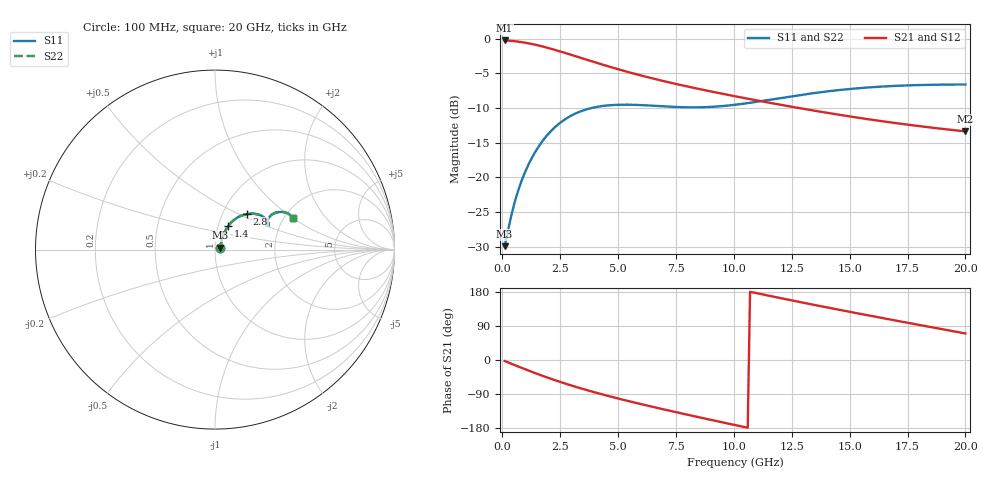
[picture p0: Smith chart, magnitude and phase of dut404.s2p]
! Touchstone file exported from HFSS 2024.1.0
!  File:  C:/UserFiles/LocalFiles/RDL_TSV_Batchsim/temp_RDL_TSV_404_1779712143.aedt
!  Generated:  08:53:30 PM May 25, 2026
!  Design:  RDL_TSV
!  Project:  temp_RDL_TSV_404_1779712143
!  Setup:  Setup1
!  Solution:  Sweep
! Variables:
!  dtsv = 10.58um
!  hbump = 3um
!  htsv = 76.57um
!  ldown = 549.81um
!  lrdl = 664.75um
!  p = 40
!  p1 = 54.92um
!  rhole = 10um
!  subl = 4308.43um
!  t = 450um
!  tdown = 2.51um
!  trdl = 4.97um
!  viad = 10um
!  wdown = 19.64um
!  wrdl = 10.26um
!  xbump = 18um
# GHz S MA R 50.000000
! Terminal data exported
! Port[1] = TM1_1_T1
! Port[2] = TM1_4_T1
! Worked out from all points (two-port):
!   200 points, 100 MHz to 20 GHz, reference 50 ohm
!   highest |S21| = -0.27 dB at 100 MHz (marker M1); lowest = -13.4 dB at 20 GHz (marker M2)
!   |S21| within 3 dB of the highest: start of sweep to 3.859 GHz
!   lowest |S11| = -29.9 dB at 100 MHz (marker M3), VSWR 1.07, Z = 53.1 + j1.14 ohm
!   |S11| at or under -10 dB: start of sweep to 3.87 GHz
!   |S22| runs from -29.9 to -6.6 dB; largest |S21 - S12| = 9.8e-15
!   S11 on the Smith chart (normalised r, x): 100 MHz: 1.06, +0.02; 1.4 GHz: 1.12, +0.30; 2.8 GHz: 1.30, +0.56; 20 GHz: 2.21, +1.00
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0.1  0.03185 19.6  0.9698 -2.6  0.9698 -2.6  0.03186 19.6
! Gamma 0 0 0 0
! Port Impedance 50 0 50 0
0.4  0.05388 49.8  0.9629 -10.1  0.9629 -10.1  0.05389 49.8
0.7  0.08148 58.5  0.9504 -17.5  0.9504 -17.5  0.08148 58.5
1  0.1105 61.2  0.9335 -24.8  0.9335 -24.8  0.1105 61.1
1.4  0.15 60.8  0.9053 -34.1  0.9053 -34.1  0.1498 60.7
1.7  0.179 59.0  0.8808 -40.9  0.8808 -40.9  0.1788 58.9
2.1  0.2153 55.4  0.8454 -49.6  0.8454 -49.6  0.2149 55.3
2.8  0.2678 48.0  0.7803 -63.8  0.7803 -63.8  0.2671 47.9
3.5  0.3037 40.8  0.717 -76.8  0.717 -76.8  0.3027 40.7
4.2  0.3242 34.7  0.6593 -88.8  0.6593 -88.8  0.3229 34.5
5  0.3333 29.3  0.6016 -101.6  0.6016 -101.6  0.3317 29.2
5.9  0.3321 25.4  0.547 -115.1  0.547 -115.1  0.3302 25.4
6.8  0.3258 23.8  0.5014 -127.9  0.5014 -127.9  0.3237 23.8
7.6  0.3208 24.0  0.4669 -139.0  0.4669 -139.0  0.3186 24.1
8.4  0.3193 25.3  0.4366 -149.9  0.4366 -149.9  0.3173 25.5
10.1  0.3341 29.3  0.3826 -172.3  0.3826 -172.3  0.3325 29.5
11.8  0.3678 31.4  0.3384 166.0  0.3384 166.0  0.3669 31.7
13.4  0.4035 30.9  0.3037 146.3  0.3037 146.3  0.4031 31.1
15  0.4331 28.9  0.2748 127.2  0.2748 127.2  0.4332 29.0
16.7  0.4539 26.2  0.2496 107.4  0.2496 107.4  0.4542 26.3
18.3  0.4637 23.9  0.2306 89.2  0.2306 89.2  0.4642 24.0
20  0.4667 22.1  0.2142 70.0  0.2142 70.0  0.4672 22.2
